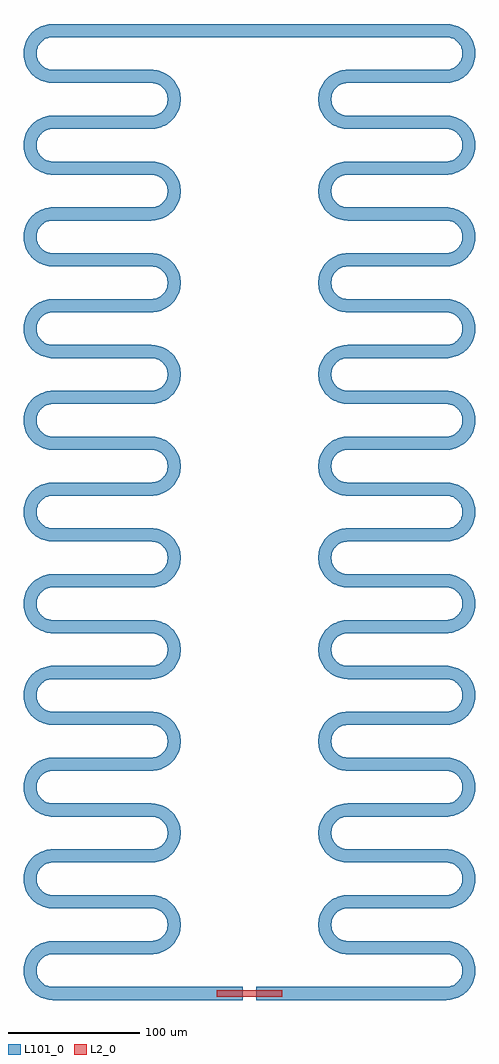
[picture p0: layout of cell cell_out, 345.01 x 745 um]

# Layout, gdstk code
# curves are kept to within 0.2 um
import gdstk
lib = gdstk.Library(unit=1e-6, precision=1e-09)
def R(c, l, rs):  # rectangles x0, y0, x1, y1
    for r in rs: c.add(gdstk.rectangle(r[:2], r[2:], *l))
def P(c, l, *ps):  # polygons
    for p in ps: c.add(gdstk.Polygon(p, *l))
L2_0 = (2, 0)
L101_0 = (101, 0)

cell_out = lib.new_cell('cell_out')
R(cell_out, L2_0, [(-25,-742.5,0.05,-737.5), (-0.05,-742.5,25,-737.5)])
R(cell_out, L101_0, [(-30.05,-745,-5,-735), (-29.535,-745,-5,-735), (5,-745,29.535,-735), (5,-745,30.05,-735)])
P(cell_out, L101_0, [(-29.535,-735),(-149.915,-735),(-150.853,-734.968),(-151.536,-734.898),(-151.536,-744.95),(-150.085,-745),(-29.535,-745)],
  [(-66.035,-78.14),(-63.308,-76.727),(-60.799,-74.956),(-57.544,-71.701),(-55.773,-69.192),(-54.36,-66.465),(-53.332,-63.571),(-52.707,-60.564),(-52.497,-57.5),(-52.707,-54.436),(-53.332,-51.429),(-54.36,-48.535),(-55.773,-45.808),(-57.544,-43.299),(-59.641,-41.054),(-62.023,-39.116),(-64.647,-37.52),(-68.929,-35.832),(-71.936,-35.207),(-74.915,-35),(-151.536,-34.898),(-151.536,-44.95),(-73.298,-45.119),(-70.815,-45.724),(-68.507,-46.822),(-65.306,-49.613),(-63.224,-53.315),(-62.503,-57.5),(-63.224,-61.685),(-65.306,-65.387),(-68.507,-68.178),(-72.457,-69.736),(-75.085,-70),(-151.536,-70.05),(-151.536,-78.704),(-67.464,-78.704)],
  [(-70.422,-665.468),(-71.936,-665.207),(-73.464,-665.05),(-74.915,-665),(-149.915,-665),(-149.915,-665.832),(-68.929,-665.832)],
  [(-149.915,-570),(-74.915,-570),(-71.936,-569.793),(-68.929,-569.168),(-64.647,-567.48),(-60.799,-564.956),(-57.544,-561.701),(-55.02,-557.853),(-53.796,-555.036),(-52.707,-550.564),(-52.55,-545.964),(-53.332,-541.429),(-54.36,-538.535),(-55.773,-535.808),(-57.544,-533.299),(-60.799,-530.044),(-63.308,-528.273),(-66.035,-526.86),(-68.929,-525.832),(-71.936,-525.207),(-150.853,-524.968),(-150.853,-534.974),(-73.298,-535.119),(-70.815,-535.724),(-68.507,-536.822),(-65.306,-539.613),(-63.224,-543.315),(-62.503,-547.5),(-63.224,-551.685),(-65.306,-555.387),(-68.507,-558.178),(-70.815,-559.276),(-73.298,-559.881),(-150.853,-560.026),(-150.853,-570.032)],
  [(-161.776,-446.685),(-162.381,-444.202),(-162.381,-440.798),(-161.776,-438.315),(-160.678,-436.007),(-159.133,-433.97),(-157.207,-432.29),(-154.979,-431.038),(-152.543,-430.264),(-149.915,-430),(-74.915,-430),(-70.422,-429.532),(-66.035,-428.14),(-62.023,-425.884),(-58.554,-422.859),(-55.773,-419.192),(-53.796,-415.036),(-52.707,-410.564),(-52.497,-407.5),(-52.968,-402.922),(-54.36,-398.535),(-55.773,-395.808),(-57.544,-393.299),(-60.799,-390.044),(-64.647,-387.52),(-67.464,-386.296),(-70.422,-385.468),(-74.915,-385),(-151.702,-384.881),(-154.185,-384.276),(-156.493,-383.178),(-159.694,-380.387),(-161.776,-376.685),(-162.497,-372.5),(-172.503,-372.5),(-172.293,-375.564),(-171.204,-380.036),(-169.98,-382.853),(-167.456,-386.701),(-164.201,-389.956),(-161.692,-391.727),(-158.965,-393.14),(-156.071,-394.168),(-153.064,-394.793),(-150.085,-395),(-73.298,-395.119),(-69.251,-396.404),(-66.47,-398.367),(-63.904,-401.751),(-62.619,-405.798),(-62.532,-408.353),(-62.966,-410.872),(-64.79,-414.707),(-66.47,-416.633),(-68.507,-418.178),(-70.815,-419.276),(-73.298,-419.881),(-150.085,-420),(-154.578,-420.468),(-158.965,-421.86),(-161.692,-423.273),(-164.201,-425.044),(-167.456,-428.299),(-169.227,-430.808),(-170.64,-433.535),(-171.668,-436.429),(-172.293,-439.436),(-172.503,-442.5),(-172.032,-447.078),(-161.62,-447.078)],
  [(-150.853,-500.032),(-74.915,-500),(-71.936,-499.793),(-68.929,-499.168),(-64.647,-497.48),(-60.799,-494.956),(-57.544,-491.701),(-55.02,-487.853),(-53.796,-485.036),(-52.707,-480.564),(-52.55,-475.964),(-53.332,-471.429),(-54.36,-468.535),(-55.773,-465.808),(-57.544,-463.299),(-60.799,-460.044),(-63.308,-458.273),(-66.035,-456.86),(-68.929,-455.832),(-71.936,-455.207),(-151.536,-454.898),(-151.536,-464.95),(-73.298,-465.119),(-70.815,-465.724),(-68.507,-466.822),(-65.306,-469.613),(-63.224,-473.315),(-62.503,-477.5),(-63.224,-481.685),(-65.306,-485.387),(-68.507,-488.178),(-70.815,-489.276),(-73.298,-489.881),(-151.536,-490.05),(-151.536,-500.102)],
  [(-149.915,-360),(-74.915,-360),(-71.936,-359.793),(-68.929,-359.168),(-64.647,-357.48),(-60.799,-354.956),(-57.544,-351.701),(-55.02,-347.853),(-53.796,-345.036),(-52.707,-340.564),(-52.55,-335.964),(-53.332,-331.429),(-54.36,-328.535),(-55.773,-325.808),(-57.544,-323.299),(-60.799,-320.044),(-63.308,-318.273),(-66.035,-316.86),(-68.929,-315.832),(-71.936,-315.207),(-150.853,-314.968),(-150.853,-324.974),(-73.298,-325.119),(-70.815,-325.724),(-68.507,-326.822),(-65.306,-329.613),(-63.224,-333.315),(-62.503,-337.5),(-63.224,-341.685),(-65.306,-345.387),(-68.507,-348.178),(-70.815,-349.276),(-73.298,-349.881),(-150.853,-350.026),(-150.853,-360.032)],
  [(-149.915,-290),(-74.915,-290),(-71.936,-289.793),(-68.929,-289.168),(-64.647,-287.48),(-60.799,-284.956),(-57.544,-281.701),(-55.02,-277.853),(-53.796,-275.036),(-52.707,-270.564),(-52.55,-265.964),(-53.332,-261.429),(-54.36,-258.535),(-55.773,-255.808),(-57.544,-253.299),(-60.799,-250.044),(-63.308,-248.273),(-66.035,-246.86),(-68.929,-245.832),(-71.936,-245.207),(-150.853,-244.968),(-150.853,-254.974),(-73.298,-255.119),(-70.815,-255.724),(-68.507,-256.822),(-65.306,-259.613),(-63.224,-263.315),(-62.503,-267.5),(-63.224,-271.685),(-65.306,-275.387),(-68.507,-278.178),(-70.815,-279.276),(-73.298,-279.881),(-150.853,-280.026),(-150.853,-290.032)],
  [(-150.853,-220.032),(-74.915,-220),(-71.936,-219.793),(-68.929,-219.168),(-64.647,-217.48),(-60.799,-214.956),(-57.544,-211.701),(-55.02,-207.853),(-53.796,-205.036),(-52.707,-200.564),(-52.55,-195.964),(-53.332,-191.429),(-54.36,-188.535),(-55.773,-185.808),(-57.544,-183.299),(-60.799,-180.044),(-63.308,-178.273),(-66.035,-176.86),(-68.929,-175.832),(-71.936,-175.207),(-151.536,-174.898),(-151.536,-184.95),(-73.298,-185.119),(-70.815,-185.724),(-68.507,-186.822),(-65.306,-189.613),(-63.224,-193.315),(-62.503,-197.5),(-63.224,-201.685),(-65.306,-205.387),(-68.507,-208.178),(-70.815,-209.276),(-73.298,-209.881),(-151.536,-210.05),(-151.536,-220.102)],
  [(-151.536,-665.832),(-168.115,-665.832),(-164.201,-669.956),(-160.353,-672.48),(-156.071,-674.168),(-151.536,-674.95)],
  [(-151.536,-734.898),(-155.749,-733.596),(-159.133,-731.03),(-160.678,-728.993),(-161.776,-726.685),(-162.497,-722.5),(-161.776,-718.315),(-160.678,-716.007),(-159.133,-713.97),(-155.749,-711.404),(-151.536,-710.102),(-151.536,-700.05),(-156.071,-700.832),(-160.353,-702.52),(-164.201,-705.044),(-166.446,-707.141),(-169.227,-710.808),(-171.204,-714.964),(-172.293,-719.436),(-172.503,-722.5),(-172.032,-727.078),(-171.204,-730.036),(-169.98,-732.853),(-168.384,-735.477),(-166.446,-737.859),(-164.201,-739.956),(-161.692,-741.727),(-157.536,-743.704),(-154.578,-744.532),(-151.536,-744.95)],
  [(-150.853,-710.032),(-74.915,-710),(-71.936,-709.793),(-68.929,-709.168),(-64.647,-707.48),(-60.799,-704.956),(-57.544,-701.701),(-55.02,-697.853),(-53.796,-695.036),(-52.707,-690.564),(-52.55,-685.964),(-53.332,-681.429),(-55.02,-677.147),(-56.616,-674.523),(-58.554,-672.141),(-60.799,-670.044),(-63.308,-668.273),(-66.035,-666.86),(-68.929,-665.832),(-151.536,-665.832),(-151.536,-674.95),(-75.085,-675),(-72.457,-675.264),(-68.507,-676.822),(-65.306,-679.613),(-63.224,-683.315),(-62.503,-687.5),(-63.224,-691.685),(-65.306,-695.387),(-68.507,-698.178),(-70.815,-699.276),(-73.298,-699.881),(-151.536,-700.05),(-151.536,-710.102)],
  [(-151.536,-34.898),(-155.749,-33.596),(-159.133,-31.03),(-160.678,-28.993),(-161.776,-26.685),(-162.497,-22.5),(-161.776,-18.315),(-160.678,-16.007),(-159.133,-13.97),(-155.749,-11.404),(-151.536,-10.102),(-151.536,-0.05),(-156.071,-0.832),(-160.353,-2.52),(-164.201,-5.044),(-166.446,-7.141),(-169.227,-10.808),(-171.204,-14.964),(-172.293,-19.436),(-172.503,-22.5),(-172.032,-27.078),(-171.204,-30.036),(-169.98,-32.853),(-168.384,-35.477),(-166.446,-37.859),(-164.201,-39.956),(-161.692,-41.727),(-157.536,-43.704),(-154.578,-44.532),(-151.536,-44.95)],
  [(-151.536,-70.05),(-156.071,-70.832),(-160.353,-72.52),(-164.201,-75.044),(-167.763,-78.704),(-151.536,-78.704)],
  [(-150.853,-10.032),(-149.915,-10),(0,-10),(0,0),(-150.085,0),(-151.536,-0.05),(-151.536,-10.102)],
  [(-149.915,-595),(-153.372,-594.534),(-169.003,-594.534),(-165.359,-598.946),(-162.977,-600.884),(-160.353,-602.48),(-156.071,-604.168),(-153.064,-604.793),(-150.085,-605)],
  [(-150.853,-664.968),(-153.372,-664.534),(-155.749,-663.596),(-159.133,-661.03),(-160.678,-658.993),(-161.776,-656.685),(-162.497,-652.5),(-162.236,-649.957),(-161.462,-647.521),(-160.21,-645.293),(-158.53,-643.367),(-156.493,-641.822),(-154.185,-640.724),(-149.915,-640),(-149.915,-630),(-153.064,-630.207),(-157.536,-631.296),(-161.692,-633.273),(-165.359,-636.054),(-168.384,-639.523),(-170.64,-643.535),(-172.032,-647.922),(-172.503,-652.5),(-172.293,-655.564),(-171.204,-660.036),(-169.98,-662.853),(-168.115,-665.832),(-149.915,-665.832),(-149.915,-665)],
  [(-74.915,-640),(-70.422,-639.532),(-67.464,-638.704),(-64.647,-637.48),(-60.799,-634.956),(-57.544,-631.701),(-55.773,-629.192),(-54.36,-626.465),(-53.332,-623.571),(-52.707,-620.564),(-52.497,-617.5),(-52.707,-614.436),(-53.796,-609.964),(-55.02,-607.147),(-57.544,-603.299),(-60.799,-600.044),(-63.308,-598.273),(-67.464,-596.296),(-70.422,-595.468),(-73.464,-595.05),(-149.915,-595),(-149.915,-605),(-73.298,-605.119),(-70.815,-605.724),(-68.507,-606.822),(-65.306,-609.613),(-63.224,-613.315),(-62.503,-617.5),(-63.224,-621.685),(-65.306,-625.387),(-68.507,-628.178),(-70.815,-629.276),(-73.298,-629.881),(-149.915,-630),(-149.915,-640)],
  [(-150.853,-524.968),(-154.979,-523.962),(-158.53,-521.633),(-170.56,-521.633),(-167.456,-526.701),(-165.359,-528.946),(-162.977,-530.884),(-160.353,-532.48),(-157.536,-533.704),(-153.064,-534.793),(-150.853,-534.974)],
  [(-154.185,-594.276),(-157.207,-592.71),(-160.21,-589.707),(-162.034,-585.872),(-162.468,-581.647),(-161.462,-577.521),(-159.133,-573.97),(-155.749,-571.404),(-153.372,-570.466),(-150.853,-570.032),(-150.853,-560.026),(-154.578,-560.468),(-158.965,-561.86),(-161.692,-563.273),(-165.359,-566.054),(-167.456,-568.299),(-169.98,-572.147),(-171.668,-576.429),(-172.45,-580.964),(-172.293,-585.564),(-171.668,-588.571),(-170.64,-591.465),(-169.003,-594.534),(-153.372,-594.534)],
  [(-151.536,-454.898),(-154.979,-453.962),(-157.887,-452.194),(-160.21,-449.707),(-161.62,-447.078),(-172.032,-447.078),(-171.204,-450.036),(-169.98,-452.853),(-167.456,-456.701),(-165.359,-458.946),(-162.977,-460.884),(-160.353,-462.48),(-157.536,-463.704),(-154.578,-464.532),(-151.536,-464.95)],
  [(-159.133,-521.03),(-160.678,-518.993),(-162.034,-515.872),(-162.497,-512.5),(-162.034,-509.128),(-160.21,-505.293),(-157.887,-502.806),(-154.979,-501.038),(-151.536,-500.102),(-151.536,-490.05),(-154.578,-490.468),(-157.536,-491.296),(-160.353,-492.52),(-164.201,-495.044),(-167.456,-498.299),(-169.227,-500.808),(-170.64,-503.535),(-171.668,-506.429),(-172.293,-509.436),(-172.45,-514.036),(-171.668,-518.571),(-170.56,-521.633),(-158.53,-521.633)],
  [(-150.853,-314.968),(-154.185,-314.276),(-156.493,-313.178),(-158.53,-311.633),(-160.678,-308.993),(-161.776,-306.685),(-162.468,-303.353),(-162.236,-299.957),(-161.096,-296.751),(-171.747,-296.751),(-172.45,-300.964),(-172.45,-304.036),(-172.032,-307.078),(-171.204,-310.036),(-169.98,-312.853),(-168.384,-315.477),(-166.446,-317.859),(-164.201,-319.956),(-160.353,-322.48),(-157.536,-323.704),(-154.578,-324.532),(-150.853,-324.974)],
  [(-162.468,-371.647),(-161.462,-367.521),(-159.133,-363.97),(-155.749,-361.404),(-153.372,-360.466),(-150.853,-360.032),(-150.853,-350.026),(-156.071,-350.832),(-158.965,-351.86),(-161.692,-353.273),(-164.201,-355.044),(-166.446,-357.141),(-168.384,-359.523),(-169.98,-362.147),(-171.204,-364.964),(-172.032,-367.922),(-172.503,-372.5),(-162.497,-372.5)],
  [(-150.853,-244.968),(-154.185,-244.276),(-157.207,-242.71),(-160.21,-239.707),(-161.776,-236.685),(-162.468,-233.353),(-162.034,-229.128),(-160.21,-225.293),(-157.887,-222.806),(-170.293,-222.806),(-171.668,-226.429),(-172.293,-229.436),(-172.503,-232.5),(-172.293,-235.564),(-171.204,-240.036),(-169.98,-242.853),(-168.384,-245.477),(-166.446,-247.859),(-162.977,-250.884),(-158.965,-253.14),(-154.578,-254.532),(-150.853,-254.974)],
  [(-160.678,-296.007),(-159.133,-293.97),(-156.493,-291.822),(-154.185,-290.724),(-150.853,-290.032),(-150.853,-280.026),(-156.071,-280.832),(-158.965,-281.86),(-161.692,-283.273),(-165.359,-286.054),(-167.456,-288.299),(-169.227,-290.808),(-170.64,-293.535),(-171.747,-296.751),(-161.096,-296.751)],
  [(-151.536,-174.898),(-155.749,-173.596),(-159.133,-171.03),(-160.678,-168.993),(-161.776,-166.685),(-162.497,-162.5),(-161.776,-158.315),(-159.694,-154.613),(-156.493,-151.822),(-154.185,-150.724),(-151.702,-150.119),(-168.775,-150.119),(-170.64,-153.535),(-171.668,-156.429),(-172.293,-159.436),(-172.503,-162.5),(-172.293,-165.564),(-171.204,-170.036),(-169.98,-172.853),(-168.384,-175.477),(-166.446,-177.859),(-164.201,-179.956),(-160.353,-182.48),(-156.071,-184.168),(-151.536,-184.95)],
  [(-157.207,-222.29),(-154.185,-220.724),(-151.536,-220.102),(-151.536,-210.05),(-154.578,-210.468),(-157.536,-211.296),(-160.353,-212.52),(-162.977,-214.116),(-165.359,-216.054),(-167.456,-218.299),(-170.293,-222.806),(-157.887,-222.806)],
  [(-75.085,-105),(-151.702,-104.881),(-154.185,-104.276),(-156.493,-103.178),(-159.694,-100.387),(-161.776,-96.685),(-162.497,-92.5),(-161.776,-88.315),(-159.694,-84.613),(-156.493,-81.822),(-154.185,-80.724),(-151.702,-80.119),(-75.085,-80),(-75.085,-78.704),(-167.763,-78.704),(-170.64,-83.535),(-171.668,-86.429),(-172.293,-89.436),(-172.45,-94.036),(-171.668,-98.571),(-169.98,-102.853),(-167.456,-106.701),(-164.201,-109.956),(-160.353,-112.48),(-157.536,-113.704),(-153.064,-114.793),(-75.085,-115)],
  [(-149.915,-150),(-75.085,-150),(-75.085,-140),(-153.064,-140.207),(-157.536,-141.296),(-161.692,-143.273),(-165.359,-146.054),(-168.775,-150.119)],
  [(-74.915,-80),(-73.464,-79.95),(-71.936,-79.793),(-70.422,-79.532),(-68.929,-79.168),(-67.464,-78.704),(-75.085,-78.704),(-75.085,-80)],
  [(-74.915,-150),(-70.422,-149.532),(-66.035,-148.14),(-62.023,-145.884),(-58.554,-142.859),(-55.773,-139.192),(-53.796,-135.036),(-52.707,-130.564),(-52.497,-127.5),(-52.968,-122.922),(-54.36,-118.535),(-56.616,-114.523),(-59.641,-111.054),(-63.308,-108.273),(-67.464,-106.296),(-71.936,-105.207),(-75.085,-105),(-75.085,-115),(-70.815,-115.724),(-68.507,-116.822),(-66.47,-118.367),(-64.79,-120.293),(-63.538,-122.521),(-62.764,-124.957),(-62.503,-127.5),(-62.764,-130.043),(-63.538,-132.479),(-64.79,-134.707),(-66.47,-136.633),(-68.507,-138.178),(-70.815,-139.276),(-75.085,-140)],
  [(153.064,-744.793),(157.536,-743.704),(160.353,-742.48),(164.201,-739.956),(167.456,-736.701),(169.98,-732.853),(171.204,-730.036),(172.293,-725.564),(172.503,-722.5),(172.293,-719.436),(171.204,-714.964),(169.227,-710.808),(166.446,-707.141),(164.201,-705.044),(160.353,-702.52),(156.071,-700.832),(151.536,-700.05),(151.536,-710.102),(155.749,-711.404),(159.133,-713.97),(161.462,-717.521),(162.468,-721.647),(162.381,-724.202),(161.776,-726.685),(159.694,-730.387),(157.887,-732.194),(155.749,-733.596),(151.536,-734.898),(151.536,-744.95)],
  [(167.456,-78.299),(164.201,-75.044),(160.353,-72.52),(156.071,-70.832),(151.536,-70.05),(151.536,-79.168),(168.115,-79.168)],
  [(168.384,-665.477),(169.98,-662.853),(171.204,-660.036),(172.032,-657.078),(172.45,-654.036),(172.45,-650.964),(172.032,-647.922),(171.204,-644.964),(169.98,-642.147),(168.384,-639.523),(166.446,-637.141),(164.201,-635.044),(161.692,-633.273),(158.965,-631.86),(156.071,-630.832),(153.064,-630.207),(149.915,-630),(149.915,-640),(154.185,-640.724),(156.493,-641.822),(158.53,-643.367),(160.21,-645.293),(161.462,-647.521),(162.236,-649.957),(162.497,-652.5),(161.776,-656.685),(160.678,-658.993),(159.133,-661.03),(157.207,-662.71),(154.979,-663.962),(152.543,-664.736),(149.915,-665),(149.915,-665.832),(168.115,-665.832)],
  [(169.227,-594.192),(170.64,-591.465),(171.668,-588.571),(172.293,-585.564),(172.503,-582.5),(172.032,-577.922),(171.204,-574.964),(169.98,-572.147),(168.384,-569.523),(166.446,-567.141),(164.201,-565.044),(161.692,-563.273),(157.536,-561.296),(154.578,-560.468),(151.536,-560.05),(151.536,-570.102),(155.749,-571.404),(159.133,-573.97),(160.678,-576.007),(161.776,-578.315),(162.497,-582.5),(161.776,-586.685),(159.694,-590.387),(156.493,-593.178),(152.543,-594.736),(168.87,-594.736)],
  [(170.64,-521.465),(171.668,-518.571),(172.293,-515.564),(172.45,-510.964),(172.032,-507.922),(171.204,-504.964),(169.227,-500.808),(166.446,-497.141),(164.201,-495.044),(161.692,-493.273),(157.536,-491.296),(154.578,-490.468),(151.536,-490.05),(151.536,-500.102),(154.979,-501.038),(158.53,-503.367),(160.678,-506.007),(162.236,-509.957),(162.468,-513.353),(161.776,-516.685),(160.21,-519.707),(158.53,-521.633)],
  [(172.032,-447.078),(172.503,-442.5),(172.032,-437.922),(171.204,-434.964),(169.98,-432.147),(167.456,-428.299),(164.201,-425.044),(160.353,-422.52),(156.071,-420.832),(150.853,-420.026),(150.853,-430.032),(154.185,-430.724),(156.493,-431.822),(158.53,-433.367),(160.678,-436.007),(161.776,-438.315),(162.468,-441.647),(162.236,-445.043),(161.462,-447.479),(171.935,-447.479)],
  [(172.45,-370.964),(171.668,-366.429),(169.98,-362.147),(167.456,-358.299),(165.359,-356.054),(161.692,-353.273),(158.965,-351.86),(154.578,-350.468),(150.853,-350.026),(150.853,-360.032),(153.372,-360.466),(155.749,-361.404),(159.133,-363.97),(160.678,-366.007),(161.776,-368.315),(162.497,-372.5),(172.503,-372.5)],
  [(171.668,-296.429),(170.64,-293.535),(169.227,-290.808),(167.456,-288.299),(164.201,-285.044),(160.353,-282.52),(157.536,-281.296),(154.578,-280.468),(151.536,-280.05),(151.536,-290.102),(154.185,-290.724),(157.207,-292.29),(159.694,-294.613),(161.462,-297.521),(171.935,-297.521)],
  [(169.98,-222.147),(168.384,-219.523),(166.446,-217.141),(164.201,-215.044),(161.692,-213.273),(157.536,-211.296),(154.578,-210.468),(151.536,-210.05),(151.536,-220.102),(154.979,-221.038),(158.53,-223.367),(170.56,-223.367)],
  [(151.536,-700.05),(73.298,-699.881),(70.815,-699.276),(68.507,-698.178),(65.306,-695.387),(63.224,-691.685),(62.503,-687.5),(63.224,-683.315),(65.306,-679.613),(68.507,-676.822),(72.457,-675.264),(75.085,-675),(151.536,-674.95),(151.536,-665.832),(68.929,-665.832),(66.035,-666.86),(63.308,-668.273),(60.799,-670.044),(57.544,-673.299),(55.773,-675.808),(54.36,-678.535),(53.332,-681.429),(52.707,-684.436),(52.55,-689.036),(53.332,-693.571),(55.02,-697.853),(57.544,-701.701),(60.799,-704.956),(64.647,-707.48),(67.464,-708.704),(71.936,-709.793),(151.536,-710.102)],
  [(151.536,-744.95),(151.536,-734.898),(150.853,-734.968),(149.915,-735),(29.535,-735),(29.535,-745),(150.085,-745)],
  [(153.064,-674.793),(157.536,-673.704),(161.692,-671.727),(165.359,-668.946),(168.115,-665.832),(151.536,-665.832),(151.536,-674.95)],
  [(151.536,-0.05),(150.085,0),(0,0),(0,-10),(149.915,-10),(150.853,-10.032),(151.536,-10.102)],
  [(151.536,-70.05),(73.298,-69.881),(70.815,-69.276),(68.507,-68.178),(65.306,-65.387),(63.224,-61.685),(62.503,-57.5),(63.224,-53.315),(65.306,-49.613),(68.507,-46.822),(70.815,-45.724),(73.298,-45.119),(151.536,-44.95),(151.536,-34.898),(74.915,-35),(70.422,-35.468),(67.464,-36.296),(64.647,-37.52),(60.799,-40.044),(58.554,-42.141),(56.616,-44.523),(55.02,-47.147),(53.796,-49.964),(52.707,-54.436),(52.497,-57.5),(52.968,-62.078),(53.796,-65.036),(55.773,-69.192),(57.544,-71.701),(60.799,-74.956),(64.647,-77.48),(68.929,-79.168),(151.536,-79.168)],
  [(153.064,-44.793),(157.536,-43.704),(160.353,-42.48),(164.201,-39.956),(167.456,-36.701),(169.98,-32.853),(171.204,-30.036),(172.293,-25.564),(172.503,-22.5),(172.293,-19.436),(171.204,-14.964),(169.227,-10.808),(166.446,-7.141),(164.201,-5.044),(160.353,-2.52),(156.071,-0.832),(151.536,-0.05),(151.536,-10.102),(155.749,-11.404),(159.133,-13.97),(161.462,-17.521),(162.468,-21.647),(162.381,-24.202),(161.776,-26.685),(159.694,-30.387),(157.887,-32.194),(155.749,-33.596),(151.536,-34.898),(151.536,-44.95)],
  [(75.085,-630),(70.815,-629.276),(67.113,-627.194),(64.322,-623.993),(62.764,-620.043),(62.619,-615.798),(63.904,-611.751),(66.47,-608.367),(70.021,-606.038),(72.457,-605.264),(75.085,-605),(149.915,-605),(149.915,-595),(74.915,-595),(70.422,-595.468),(67.464,-596.296),(63.308,-598.273),(60.799,-600.044),(57.544,-603.299),(55.02,-607.147),(53.796,-609.964),(52.707,-614.436),(52.497,-617.5),(52.707,-620.564),(53.796,-625.036),(55.02,-627.853),(57.544,-631.701),(60.799,-634.956),(63.308,-636.727),(67.464,-638.704),(70.422,-639.532),(74.915,-640),(149.915,-640),(149.915,-630)],
  [(74.915,-665),(73.464,-665.05),(71.936,-665.207),(70.422,-665.468),(68.929,-665.832),(149.915,-665.832),(149.915,-665)],
  [(150.085,-605),(153.064,-604.793),(156.071,-604.168),(160.353,-602.48),(162.977,-600.884),(165.359,-598.946),(168.87,-594.736),(152.543,-594.736),(149.915,-595)],
  [(151.536,-560.05),(73.298,-559.881),(70.815,-559.276),(68.507,-558.178),(65.306,-555.387),(63.224,-551.685),(62.503,-547.5),(63.224,-543.315),(65.306,-539.613),(68.507,-536.822),(70.815,-535.724),(73.298,-535.119),(151.536,-534.95),(151.536,-524.898),(74.915,-525),(70.422,-525.468),(67.464,-526.296),(64.647,-527.52),(60.799,-530.044),(58.554,-532.141),(56.616,-534.523),(55.02,-537.147),(53.796,-539.964),(52.707,-544.436),(52.55,-549.036),(53.332,-553.571),(55.02,-557.853),(57.544,-561.701),(60.799,-564.956),(64.647,-567.48),(67.464,-568.704),(71.936,-569.793),(151.536,-570.102)],
  [(153.064,-534.793),(157.536,-533.704),(160.353,-532.48),(162.977,-530.884),(165.359,-528.946),(167.456,-526.701),(170.56,-521.633),(158.53,-521.633),(154.979,-523.962),(151.536,-524.898),(151.536,-534.95)],
  [(151.536,-490.05),(73.298,-489.881),(70.815,-489.276),(68.507,-488.178),(65.306,-485.387),(63.224,-481.685),(62.503,-477.5),(63.224,-473.315),(65.306,-469.613),(68.507,-466.822),(70.815,-465.724),(73.298,-465.119),(151.536,-464.95),(151.536,-454.898),(74.915,-455),(70.422,-455.468),(67.464,-456.296),(64.647,-457.52),(60.799,-460.044),(58.554,-462.141),(56.616,-464.523),(55.02,-467.147),(53.796,-469.964),(52.707,-474.436),(52.55,-479.036),(53.332,-483.571),(55.02,-487.853),(57.544,-491.701),(60.799,-494.956),(64.647,-497.48),(67.464,-498.704),(71.936,-499.793),(151.536,-500.102)],
  [(153.064,-464.793),(157.536,-463.704),(160.353,-462.48),(162.977,-460.884),(165.359,-458.946),(167.456,-456.701),(169.227,-454.192),(170.64,-451.465),(171.935,-447.479),(161.462,-447.479),(159.694,-450.387),(157.207,-452.71),(154.185,-454.276),(151.536,-454.898),(151.536,-464.95)],
  [(150.853,-420.026),(73.298,-419.881),(70.815,-419.276),(68.507,-418.178),(65.306,-415.387),(63.224,-411.685),(62.503,-407.5),(63.224,-403.315),(65.306,-399.613),(68.507,-396.822),(70.815,-395.724),(73.298,-395.119),(150.853,-394.974),(150.853,-384.968),(74.915,-385),(70.422,-385.468),(67.464,-386.296),(64.647,-387.52),(60.799,-390.044),(58.554,-392.141),(56.616,-394.523),(55.02,-397.147),(53.796,-399.964),(52.707,-404.436),(52.55,-409.036),(53.332,-413.571),(55.02,-417.853),(57.544,-421.701),(60.799,-424.956),(64.647,-427.48),(67.464,-428.704),(71.936,-429.793),(150.853,-430.032)],
  [(151.536,-394.95),(156.071,-394.168),(160.353,-392.48),(164.201,-389.956),(166.446,-387.859),(169.227,-384.192),(171.204,-380.036),(172.293,-375.564),(172.503,-372.5),(162.497,-372.5),(161.776,-376.685),(160.678,-378.993),(159.133,-381.03),(155.749,-383.596),(153.372,-384.534),(150.853,-384.968),(150.853,-394.974)],
  [(150.853,-350.026),(73.298,-349.881),(70.815,-349.276),(68.507,-348.178),(65.306,-345.387),(63.224,-341.685),(62.503,-337.5),(63.224,-333.315),(65.306,-329.613),(68.507,-326.822),(70.815,-325.724),(73.298,-325.119),(150.853,-324.974),(150.853,-314.968),(74.915,-315),(70.422,-315.468),(67.464,-316.296),(64.647,-317.52),(60.799,-320.044),(58.554,-322.141),(56.616,-324.523),(55.02,-327.147),(53.796,-329.964),(52.707,-334.436),(52.55,-339.036),(53.332,-343.571),(55.02,-347.853),(57.544,-351.701),(60.799,-354.956),(64.647,-357.48),(67.464,-358.704),(71.936,-359.793),(150.853,-360.032)],
  [(151.536,-324.95),(156.071,-324.168),(160.353,-322.48),(164.201,-319.956),(166.446,-317.859),(168.384,-315.477),(170.64,-311.465),(172.032,-307.078),(172.503,-302.5),(171.935,-297.521),(161.462,-297.521),(162.236,-299.957),(162.468,-303.353),(161.776,-306.685),(160.678,-308.993),(159.133,-311.03),(156.493,-313.178),(154.185,-314.276),(150.853,-314.968),(150.853,-324.974)],
  [(151.536,-280.05),(73.298,-279.881),(70.815,-279.276),(68.507,-278.178),(65.306,-275.387),(63.224,-271.685),(62.503,-267.5),(63.224,-263.315),(65.306,-259.613),(68.507,-256.822),(70.815,-255.724),(73.298,-255.119),(151.536,-254.95),(151.536,-244.898),(74.915,-245),(70.422,-245.468),(67.464,-246.296),(64.647,-247.52),(60.799,-250.044),(58.554,-252.141),(56.616,-254.523),(55.02,-257.147),(53.796,-259.964),(52.707,-264.436),(52.55,-269.036),(53.332,-273.571),(55.02,-277.853),(57.544,-281.701),(60.799,-284.956),(64.647,-287.48),(67.464,-288.704),(71.936,-289.793),(151.536,-290.102)],
  [(153.064,-254.793),(157.536,-253.704),(160.353,-252.48),(162.977,-250.884),(165.359,-248.946),(167.456,-246.701),(169.98,-242.853),(171.204,-240.036),(172.032,-237.078),(172.503,-232.5),(172.032,-227.922),(170.56,-223.367),(158.53,-223.367),(160.21,-225.293),(161.776,-228.315),(162.468,-231.647),(162.236,-235.043),(160.678,-238.993),(158.53,-241.633),(154.979,-243.962),(151.536,-244.898),(151.536,-254.95)],
  [(151.536,-210.05),(73.298,-209.881),(70.815,-209.276),(68.507,-208.178),(65.306,-205.387),(63.224,-201.685),(62.503,-197.5),(63.224,-193.315),(65.306,-189.613),(68.507,-186.822),(70.815,-185.724),(73.298,-185.119),(151.536,-184.95),(151.536,-174.898),(74.915,-175),(70.422,-175.468),(67.464,-176.296),(64.647,-177.52),(60.799,-180.044),(58.554,-182.141),(56.616,-184.523),(55.02,-187.147),(53.796,-189.964),(52.707,-194.436),(52.55,-199.036),(53.332,-203.571),(55.02,-207.853),(57.544,-211.701),(60.799,-214.956),(64.647,-217.48),(67.464,-218.704),(71.936,-219.793),(151.536,-220.102)],
  [(153.064,-184.793),(156.071,-184.168),(158.965,-183.14),(161.692,-181.727),(164.201,-179.956),(167.456,-176.701),(169.227,-174.192),(170.64,-171.465),(171.668,-168.571),(172.293,-165.564),(172.45,-160.964),(172.032,-157.922),(171.204,-154.964),(168.87,-150.264),(152.543,-150.264),(156.493,-151.822),(159.694,-154.613),(161.776,-158.315),(162.497,-162.5),(161.776,-166.685),(160.678,-168.993),(159.133,-171.03),(155.749,-173.596),(151.536,-174.898),(151.536,-184.95)],
  [(149.915,-79.168),(68.929,-79.168),(70.422,-79.532),(71.936,-79.793),(73.464,-79.95),(74.915,-80),(149.915,-80)],
  [(75.085,-140),(70.815,-139.276),(67.113,-137.194),(64.322,-133.993),(62.764,-130.043),(62.619,-125.798),(63.904,-121.751),(66.47,-118.367),(70.021,-116.038),(72.457,-115.264),(75.085,-115),(149.915,-115),(149.915,-105),(74.915,-105),(70.422,-105.468),(67.464,-106.296),(63.308,-108.273),(60.799,-110.044),(57.544,-113.299),(55.02,-117.147),(53.796,-119.964),(52.707,-124.436),(52.497,-127.5),(52.707,-130.564),(53.796,-135.036),(55.02,-137.853),(57.544,-141.701),(60.799,-144.956),(63.308,-146.727),(67.464,-148.704),(70.422,-149.532),(74.915,-150),(149.915,-150),(149.915,-140)],
  [(150.085,-115),(153.064,-114.793),(156.071,-114.168),(158.965,-113.14),(161.692,-111.727),(164.201,-109.956),(166.446,-107.859),(168.384,-105.477),(169.98,-102.853),(171.204,-100.036),(172.032,-97.078),(172.45,-94.036),(172.45,-90.964),(172.032,-87.922),(171.204,-84.964),(169.98,-82.147),(168.115,-79.168),(149.915,-79.168),(149.915,-80),(152.543,-80.264),(154.979,-81.038),(157.207,-82.29),(159.133,-83.97),(160.678,-86.007),(161.776,-88.315),(162.497,-92.5),(162.236,-95.043),(161.462,-97.479),(160.21,-99.707),(158.53,-101.633),(156.493,-103.178),(154.185,-104.276),(149.915,-105)],
  [(168.384,-149.523),(166.446,-147.141),(164.201,-145.044),(160.353,-142.52),(157.536,-141.296),(154.578,-140.468),(149.915,-140),(149.915,-150),(152.543,-150.264),(168.87,-150.264)])

lib.write_gds('cell_out.gds')
